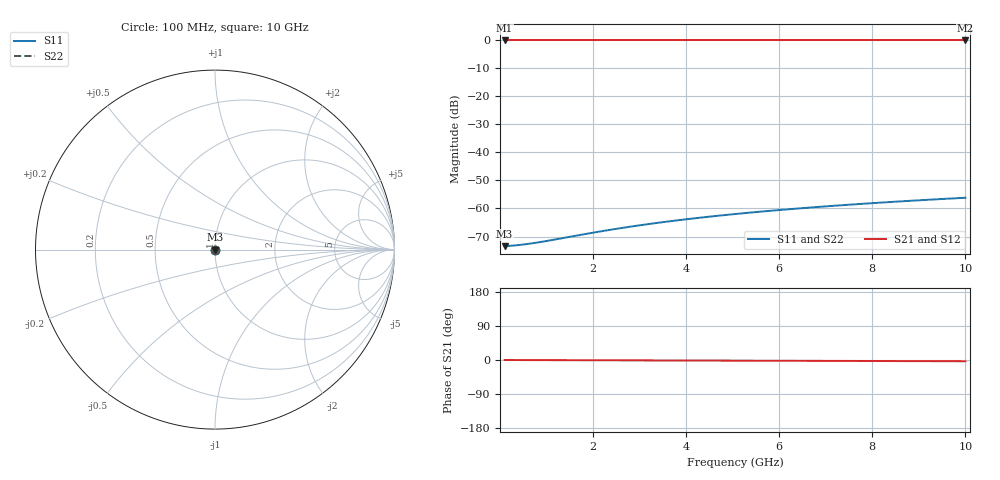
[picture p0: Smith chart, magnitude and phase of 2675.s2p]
# Hz S RI R 50.00
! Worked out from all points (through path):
!   100 points, 100 MHz to 10 GHz, reference 50 ohm
!   highest |S21| = 0.00 dB at 100 MHz (marker M1); lowest = 0.0 dB at 10 GHz (marker M2)
!   lowest |S11| = -73.5 dB at 100 MHz (marker M3), VSWR 1.00, Z = 50 - j0.0015 ohm
!   |S11| at or under -10 dB: start of sweep to end of sweep
!   |S22| runs from -73.5 to -56.2 dB; largest |S21 - S12| = 0
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1e8  0.000212 -1.5e-05  0.9998 -0.000575  0.9998 -0.000575  0.000212 -1.5e-05
3e8  0.000214 -4.5e-05  0.9998 -0.00172  0.9998 -0.00172  0.000214 -4.5e-05
4e8  0.000214 -6e-05  0.9998 -0.0023  0.9998 -0.0023  0.000214 -6e-05
5e8  0.000215 -7.51e-05  0.9998 -0.00287  0.9998 -0.00287  0.000215 -7.51e-05
7e8  0.000215 -0.000105  0.9998 -0.00402  0.9998 -0.00402  0.000215 -0.000105
9e8  0.000216 -0.000135  0.9998 -0.00517  0.9998 -0.00517  0.000216 -0.000135
1.1e9  0.000216 -0.000165  0.9998 -0.00632  0.9998 -0.00632  0.000216 -0.000165
1.8e9  0.000215 -0.000271  0.9997 -0.0103  0.9997 -0.0103  0.000215 -0.000271
2.2e9  0.000213 -0.000332  0.9997 -0.0126  0.9997 -0.0126  0.000213 -0.000332
2.6e9  0.000212 -0.000393  0.9997 -0.0149  0.9997 -0.0149  0.000212 -0.000393
3e9  0.00021 -0.000454  0.9996 -0.0172  0.9996 -0.0172  0.00021 -0.000454
3.4e9  0.000208 -0.000516  0.9996 -0.0196  0.9996 -0.0196  0.000208 -0.000516
3.8e9  0.000205 -0.000578  0.9995 -0.0219  0.9995 -0.0219  0.000205 -0.000578
4.2e9  0.000203 -0.000639  0.9995 -0.0242  0.9995 -0.0242  0.000203 -0.000639
4.6e9  0.000199 -0.000701  0.9994 -0.0265  0.9994 -0.0265  0.000199 -0.000701
5.1e9  0.000195 -0.000779  0.9993 -0.0293  0.9993 -0.0293  0.000195 -0.000779
5.9e9  0.000187 -0.000904  0.9992 -0.034  0.9992 -0.034  0.000187 -0.000904
6.7e9  0.000178 -0.00103  0.999 -0.0386  0.999 -0.0386  0.000178 -0.00103
7.5e9  0.000168 -0.00116  0.9988 -0.0432  0.9988 -0.0432  0.000168 -0.00116
8.4e9  0.000155 -0.0013  0.9986 -0.0484  0.9986 -0.0484  0.000155 -0.0013
9.2e9  0.000142 -0.00142  0.9983 -0.053  0.9983 -0.053  0.000142 -0.00142
1e10  0.000128 -0.00155  0.9981 -0.0577  0.9981 -0.0577  0.000128 -0.00155
